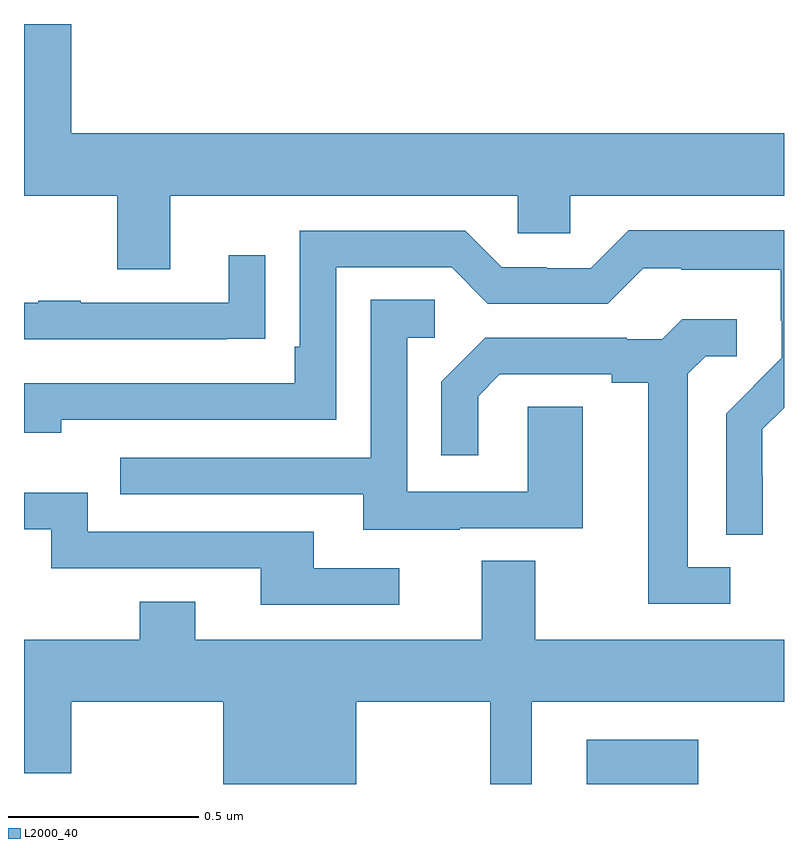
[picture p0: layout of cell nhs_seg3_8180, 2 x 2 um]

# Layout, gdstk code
import gdstk
lib = gdstk.Library(unit=1e-6, precision=1e-09)
def R(c, l, rs):  # rectangles x0, y0, x1, y1
    for r in rs: c.add(gdstk.rectangle(r[:2], r[2:], *l))
def P(c, l, *ps):  # polygons
    for p in ps: c.add(gdstk.Polygon(p, *l))
L2000_40 = (2000, 40)

nhs_seg3_8180 = lib.new_cell('nhs_seg3_8180')
R(nhs_seg3_8180, L2000_40, [(214.481,667.4,214.774,667.516)])
P(nhs_seg3_8180, L2000_40, [(213.385,668.948),(214.299,668.948),(214.299,668.85),(214.437,668.85),(214.437,668.948),(215,668.948),(215,669.112),(213.124,669.112),(213.124,669.4),(213,669.4),(213,668.948),(213.245,668.948),(213.245,668.754),(213.385,668.754)],
  [(214.944,668.21),(214.943,668.21),(214.943,668.333),(215,668.39),(215,668.857),(214.591,668.857),(214.491,668.757),(214.376,668.757),(214.376,668.76),(214.257,668.76),(214.161,668.856),(213.726,668.856),(213.726,668.551),(213.713,668.551),(213.713,668.454),(213,668.454),(213,668.324),(213.098,668.324),(213.098,668.358),(213.822,668.358),(213.822,668.76),(214.125,668.76),(214.221,668.664),(214.536,668.664),(214.629,668.757),(214.729,668.757),(214.729,668.753),(214.992,668.753),(214.992,668.619),(214.994,668.619),(214.994,668.522),(214.92,668.448),(214.921,668.447),(214.848,668.374),(214.848,668.056),(214.944,668.056)],
  [(213.533,668.572),(213.635,668.572),(213.635,668.791),(213.539,668.791),(213.539,668.667),(213.149,668.667),(213.149,668.672),(213.037,668.672),(213.037,668.667),(213,668.667),(213,668.571),(213.533,668.571)],
  [(214.147,668.073),(214.471,668.073),(214.471,668.393),(214.326,668.393),(214.326,668.169),(214.008,668.169),(214.008,668.574),(214.081,668.574),(214.081,668.675),(213.912,668.675),(213.912,668.259),(213.253,668.259),(213.253,668.163),(213.893,668.163),(213.893,668.069),(214.147,668.069)],
  [(214.858,667.971),(214.747,667.971),(214.747,668.479),(214.794,668.526),(214.876,668.526),(214.876,668.623),(214.732,668.623),(214.68,668.571),(214.586,668.571),(214.586,668.574),(214.214,668.574),(214.098,668.458),(214.098,668.265),(214.195,668.265),(214.195,668.421),(214.252,668.478),(214.547,668.478),(214.547,668.456),(214.643,668.456),(214.643,667.875),(214.858,667.875)],
  [(213.988,667.968),(213.763,667.968),(213.763,668.064),(213.168,668.064),(213.168,668.167),(213,668.167),(213,668.07),(213.072,668.07),(213.072,667.968),(213.623,667.968),(213.623,667.872),(213.988,667.872)],
  [(213.874,667.616),(214.227,667.616),(214.227,667.4),(214.336,667.4),(214.336,667.616),(215,667.616),(215,667.78),(214.345,667.78),(214.345,667.988),(214.205,667.988),(214.205,667.78),(213.451,667.78),(213.451,667.879),(213.304,667.879),(213.304,667.78),(213,667.78),(213,667.428),(213.124,667.428),(213.124,667.616),(213.524,667.616),(213.524,667.4),(213.874,667.4)])

lib.write_gds('nhs_seg3_8180.gds')
